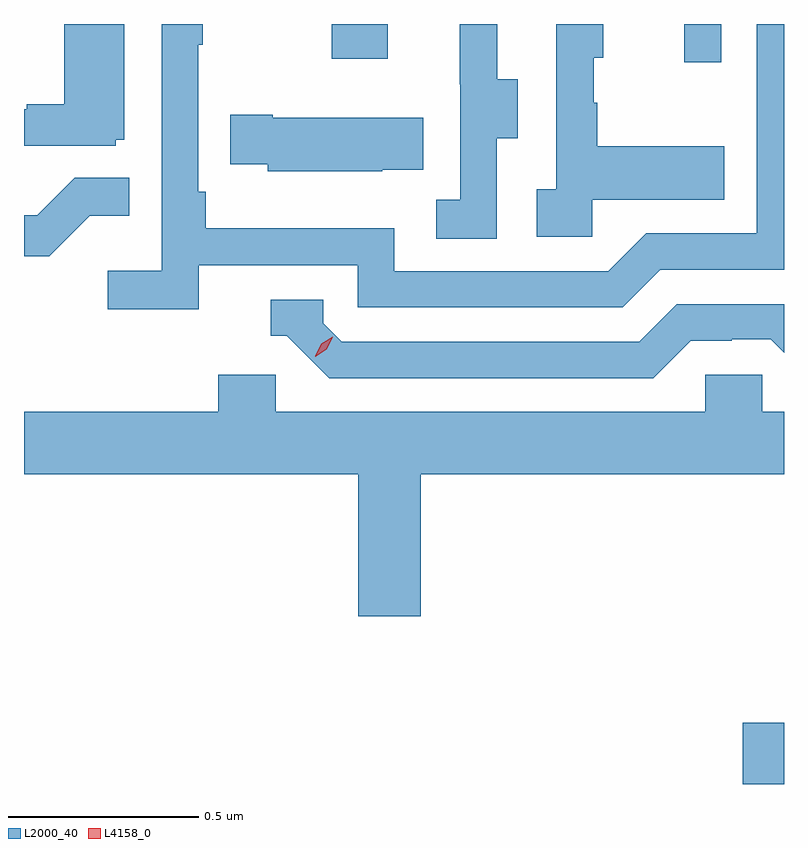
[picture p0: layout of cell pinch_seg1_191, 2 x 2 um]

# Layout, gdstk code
import gdstk
lib = gdstk.Library(unit=1e-6, precision=1e-09)
def R(c, l, rs):  # rectangles x0, y0, x1, y1
    for r in rs: c.add(gdstk.rectangle(r[:2], r[2:], *l))
def P(c, l, *ps):  # polygons
    for p in ps: c.add(gdstk.Polygon(p, *l))
L2000_40 = (2000, 40)
L4158_0 = (4158, 0)

pinch_seg1_191 = lib.new_cell('pinch_seg1_191')
R(pinch_seg1_191, L2000_40, [(1137.048,558.909,1137.156,559.07), (1136.894,560.808,1136.991,560.909), (1135.966,560.817,1136.113,560.909)])
P(pinch_seg1_191, L2000_40, [(1135.398,560.604),(1135.42,560.604),(1135.42,560.909),(1135.262,560.909),(1135.262,560.698),(1135.163,560.698),(1135.163,560.685),(1135.156,560.685),(1135.156,560.589),(1135.398,560.589)],
  [(1136.652,560.447),(1136.999,560.447),(1136.999,560.587),(1136.665,560.587),(1136.665,560.702),(1136.655,560.702),(1136.655,560.82),(1136.68,560.82),(1136.68,560.909),(1136.556,560.909),(1136.556,560.474),(1136.505,560.474),(1136.505,560.349),(1136.652,560.349)],
  [(1135.616,560.274),(1136.034,560.274),(1136.034,560.163),(1136.731,560.163),(1136.83,560.262),(1137.156,560.262),(1137.156,560.909),(1137.084,560.909),(1137.084,560.358),(1136.793,560.358),(1136.694,560.259),(1136.13,560.259),(1136.13,560.371),(1135.634,560.371),(1135.634,560.467),(1135.614,560.467),(1135.614,560.855),(1135.627,560.855),(1135.627,560.909),(1135.518,560.909),(1135.518,560.26),(1135.377,560.26),(1135.377,560.158),(1135.616,560.158)],
  [(1136.4,560.608),(1136.455,560.608),(1136.455,560.763),(1136.401,560.763),(1136.401,560.909),(1136.303,560.909),(1136.303,560.751),(1136.304,560.751),(1136.304,560.447),(1136.241,560.447),(1136.241,560.344),(1136.4,560.344)],
  [(1136.099,560.525),(1136.207,560.525),(1136.207,560.662),(1135.81,560.662),(1135.81,560.67),(1135.699,560.67),(1135.699,560.54),(1135.797,560.54),(1135.797,560.522),(1136.099,560.522)],
  [(1135.329,560.405),(1135.433,560.405),(1135.433,560.504),(1135.289,560.504),(1135.191,560.406),(1135.156,560.406),(1135.156,560.298),(1135.222,560.298)],
  [(1136.911,560.076),(1137.018,560.076),(1137.018,560.079),(1137.121,560.079),(1137.156,560.044),(1137.156,560.172),(1136.874,560.172),(1136.775,560.073),(1135.992,560.073),(1135.944,560.121),(1135.944,560.184),(1135.805,560.184),(1135.805,560.088),(1135.848,560.088),(1135.959,559.977),(1136.812,559.977)],
  [(1136.2,559.724),(1137.156,559.724),(1137.156,559.888),(1137.099,559.888),(1137.099,559.986),(1136.949,559.986),(1136.949,559.888),(1135.818,559.888),(1135.818,559.986),(1135.667,559.986),(1135.667,559.888),(1135.156,559.888),(1135.156,559.724),(1136.036,559.724),(1136.036,559.35),(1136.2,559.35)])
P(pinch_seg1_191, L4158_0, [(1135.922,560.034),(1135.922,560.035),(1135.938,560.067),(1135.968,560.086),(1135.969,560.086),(1135.969,560.086),(1135.953,560.053),(1135.922,560.034)])

lib.write_gds('pinch_seg1_191.gds')
